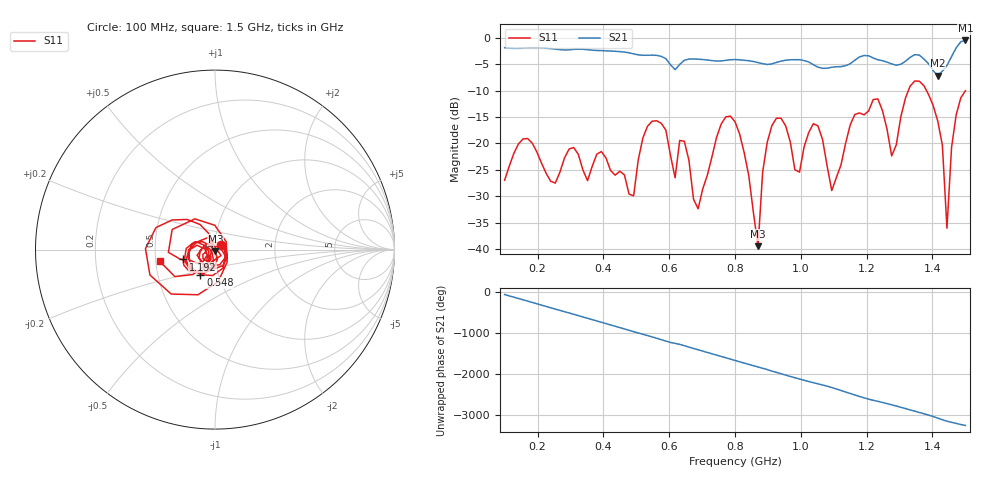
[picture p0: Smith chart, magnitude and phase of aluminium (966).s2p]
! NanoVNA-App
! Date: 2025-09-25 15:02:48
! Start: 100MHz Stop: 1,5GHz Points: 101
! S-Parameter data: F S11 S21 S12 S22
# Hz S RI R 50
!  Frequency  S11_Real  S11_Imag  S21_Real  S21_Imag  S12_Real  S12_Imag  S22_Real  S22_Imag
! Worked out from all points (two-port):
!   101 points, 100 MHz to 1.5 GHz, reference 50 ohm
!   highest |S21| = -0.54 dB at 1.5 GHz (marker M1); lowest = -7.2 dB at 1.416 GHz (marker M2)
!   |S21| within 3 dB of the highest: start of sweep to 575.5 MHz; 1.458 GHz to end of sweep (the widest 2 of 4)
!   lowest |S11| = -39.4 dB at 870 MHz (marker M3), VSWR 1.02, Z = 50.2 - j1.05 ohm
!   |S11| at or under -10 dB: start of sweep to 1.327 GHz; 1.382 GHz to end of sweep
!   S12 and S22 are empty: the file has one direction only
!   S11 on the Smith chart (normalised r, x): 100 MHz: 1.07, +0.06; 548 MHz: 0.82, -0.24; 1.192 GHz: 0.69, -0.08; 1.5 GHz: 0.53, -0.08
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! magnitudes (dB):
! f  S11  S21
! 100 MHz  -27.0  -1.9
! 156 MHz  -19.2  -2.0
! 338 MHz  -25.0  -2.2
! 492 MHz  -29.9  -3.1
! 548 MHz  -15.8  -3.3
! 576 MHz  -16.2  -3.5
! 646 MHz  -19.6  -4.3
! 688 MHz  -32.3  -4.1
! 800 MHz  -15.9  -4.1
! 870 MHz  -39.4  -4.7
! 912 MHz  -16.6  -5.0
! 996 MHz  -25.4  -4.2
! 1.038 GHz  -16.3  -5.1
! 1.094 GHz  -28.9  -5.6
! 1.192 GHz  -14.6  -3.4
! 1.234 GHz  -11.6  -4.2
! 1.276 GHz  -22.4  -5.0
! 1.346 GHz  -8.2  -3.2
! 1.416 GHz  -15.8  -7.2
! 1.444 GHz  -36.0  -5.3
! 1.458 GHz  -20.7  -3.6
! 1.5 GHz  -10.0  -0.5
